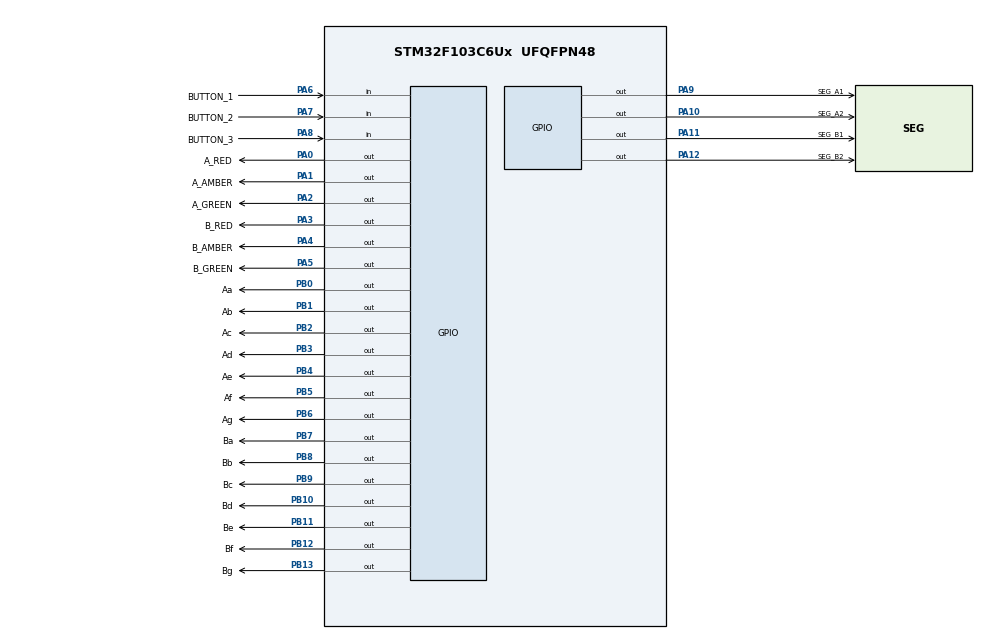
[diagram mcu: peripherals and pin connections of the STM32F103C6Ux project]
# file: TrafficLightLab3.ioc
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Mcu.Family=STM32F1
Mcu.Name=STM32F103C6Ux
Mcu.Package=UFQFPN48
NVIC.PriorityGroup=NVIC_PRIORITYGROUP_4
NVIC.TIM2_IRQn=true\:0\:0\:false\:false\:true\:true\:true
PA0-WKUP.GPIO_Label=A_RED
PA0-WKUP.Signal=GPIO_Output
PA1.GPIO_Label=A_AMBER
PA1.Signal=GPIO_Output
PA10.GPIO_Label=SEG_A2
PA10.Signal=GPIO_Output
PA11.GPIO_Label=SEG_B1
PA11.Signal=GPIO_Output
PA12.GPIO_Label=SEG_B2
PA12.Signal=GPIO_Output
PA2.GPIO_Label=A_GREEN
PA2.Signal=GPIO_Output
PA3.GPIO_Label=B_RED
PA3.Signal=GPIO_Output
PA4.GPIO_Label=B_AMBER
PA4.Signal=GPIO_Output
PA5.GPIO_Label=B_GREEN
PA5.Signal=GPIO_Output
PA6.GPIO_Label=BUTTON_1
PA6.Signal=GPIO_Input
PA7.GPIO_Label=BUTTON_2
PA7.Signal=GPIO_Input
PA8.GPIO_Label=BUTTON_3
PA8.Signal=GPIO_Input
PA9.GPIO_Label=SEG_A1
PA9.Signal=GPIO_Output
PB0.GPIO_Label=Aa
PB0.Signal=GPIO_Output
PB1.GPIO_Label=Ab
PB1.Signal=GPIO_Output
PB10.GPIO_Label=Bd
PB10.Signal=GPIO_Output
PB11.GPIO_Label=Be
PB11.Signal=GPIO_Output
PB12.GPIO_Label=Bf
PB12.Signal=GPIO_Output
PB13.GPIO_Label=Bg
PB13.Signal=GPIO_Output
PB2.GPIO_Label=Ac
PB2.Signal=GPIO_Output
PB3.GPIO_Label=Ad
PB3.Signal=GPIO_Output
PB4.GPIO_Label=Ae
PB4.Signal=GPIO_Output
PB5.GPIO_Label=Af
PB5.Signal=GPIO_Output
PB6.GPIO_Label=Ag
PB6.Signal=GPIO_Output
PB7.GPIO_Label=Ba
PB7.Signal=GPIO_Output
PB8.GPIO_Label=Bb
PB8.Signal=GPIO_Output
PB9.GPIO_Label=Bc
PB9.Signal=GPIO_Output
ProjectManager.HeapSize=0x200
ProjectManager.StackSize=0x400
ProjectManager.TargetToolchain=STM32CubeIDE
RCC.APB1Freq_Value=8000000
RCC.APB2Freq_Value=8000000
TIM2.Period=9
TIM2.Prescaler=7999
VP_SYS_VS_ND.Mode=No_Debug
VP_TIM2_VS_ClockSourceINT.Mode=Internal
board=custom

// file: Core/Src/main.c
/* USER CODE BEGIN Header */
/**
  ******************************************************************************
  * @file           : main.c
  * @brief          : Main program body
  ******************************************************************************
  * @attention
  *
  * <h2><center>&copy; Copyright (c) 2026 STMicroelectronics.
  * All rights reserved.</center></h2>
  *
  * This software component is licensed by ST under BSD 3-Clause license,
  * the "License"; You may not use this file except in compliance with the
  * License. You may obtain a copy of the License at:
  *                        opensource.org/licenses/BSD-3-Clause
  *
  ******************************************************************************
  */
/* USER CODE END Header */
#include "main.h"

/* USER CODE BEGIN Includes */
#include "input_reading.h"
#include "input_processing.h"
#include "led_display.h"
/* USER CODE END Includes */

TIM_HandleTypeDef htim2;

/* USER CODE BEGIN PV */
volatile uint32_t timer_tick = 0;
/* USER CODE END PV */

void SystemClock_Config(void);
static void MX_GPIO_Init(void);
static void MX_TIM2_Init(void);

int main(void)
{

  /* MCU Configuration--------------------------------------------------------*/

  /* Reset of all peripherals, Initializes the Flash interface and the Systick. */
  HAL_Init();

  /* USER CODE BEGIN Init */
  uint32_t last_toggle_tick = 0;
  uint32_t toggle_interval_ticks = LED_TOGGLE_MS / TIMER_PERIOD_MS;
  uint32_t last_button_tick = 0;
  uint32_t button_scan_ticks = BUTTON_SCAN_MS / TIMER_PERIOD_MS;
  if (button_scan_ticks == 0U) button_scan_ticks = 1U;
  /* USER CODE END Init */

  /* Configure the system clock */
  SystemClock_Config();

  /* Initialize all configured peripherals */
  MX_GPIO_Init();
  MX_TIM2_Init();
  /* USER CODE BEGIN 2 */
  button_reading_init();
  led_display_init();
  HAL_TIM_Base_Start_IT(&htim2);
  /* USER CODE END 2 */

  /* Infinite loop */
  while (1)
  {

    /* USER CODE BEGIN 3 */

	  fsm_for_input_processing();
	  led_display_task(get_current_mode(), 0);
	  /* Existing 2 Hz LED blink timing */
	  uint32_t current_tick = timer_tick;

	  if ((uint32_t)(current_tick - last_toggle_tick)
			  >= toggle_interval_ticks)
	  {
		  last_toggle_tick += toggle_interval_ticks;
		  /* Example: toggle the LED you want to blink */
		  // HAL_GPIO_TogglePin(LED_GPIO_Port, LED_Pin);
	  }
	  if ((uint32_t)(timer_tick - last_button_tick) >= button_scan_ticks)
	  {
	      last_button_tick += button_scan_ticks;
	      button_reading_task();
	  }
	  __DSB();
	  __WFI();
  }
  /* USER CODE END 3 */
}

void SystemClock_Config(void)
{
  RCC_OscInitTypeDef RCC_OscInitStruct = {0};
  RCC_ClkInitTypeDef RCC_ClkInitStruct = {0};

  /** Initializes the RCC Oscillators according to the specified parameters
  * in the RCC_OscInitTypeDef structure.
  */
  RCC_OscInitStruct.OscillatorType = RCC_OSCILLATORTYPE_HSI;
  RCC_OscInitStruct.HSIState = RCC_HSI_ON;
  RCC_OscInitStruct.HSICalibrationValue = RCC_HSICALIBRATION_DEFAULT;
  RCC_OscInitStruct.PLL.PLLState = RCC_PLL_NONE;
  if (HAL_RCC_OscConfig(&RCC_OscInitStruct) != HAL_OK)
  {
    Error_Handler();
  }
  /** Initializes the CPU, AHB and APB buses clocks
  */
  RCC_ClkInitStruct.ClockType = RCC_CLOCKTYPE_HCLK|RCC_CLOCKTYPE_SYSCLK
                              |RCC_CLOCKTYPE_PCLK1|RCC_CLOCKTYPE_PCLK2;
  RCC_ClkInitStruct.SYSCLKSource = RCC_SYSCLKSOURCE_HSI;
  RCC_ClkInitStruct.AHBCLKDivider = RCC_SYSCLK_DIV1;
  RCC_ClkInitStruct.APB1CLKDivider = RCC_HCLK_DIV1;
  RCC_ClkInitStruct.APB2CLKDivider = RCC_HCLK_DIV1;

  if (HAL_RCC_ClockConfig(&RCC_ClkInitStruct, FLASH_LATENCY_0) != HAL_OK)
  {
    Error_Handler();
  }
}

static void MX_TIM2_Init(void)
{

  TIM_ClockConfigTypeDef sClockSourceConfig = {0};
  TIM_MasterConfigTypeDef sMasterConfig = {0};

  htim2.Instance = TIM2;
  htim2.Init.Prescaler = 7999;
  htim2.Init.CounterMode = TIM_COUNTERMODE_UP;
  htim2.Init.Period = 9;
  htim2.Init.ClockDivision = TIM_CLOCKDIVISION_DIV1;
  htim2.Init.AutoReloadPreload = TIM_AUTORELOAD_PRELOAD_DISABLE;
  if (HAL_TIM_Base_Init(&htim2) != HAL_OK)
  {
    Error_Handler();
  }
  sClockSourceConfig.ClockSource = TIM_CLOCKSOURCE_INTERNAL;
  if (HAL_TIM_ConfigClockSource(&htim2, &sClockSourceConfig) != HAL_OK)
  {
    Error_Handler();
  }
  sMasterConfig.MasterOutputTrigger = TIM_TRGO_RESET;
  sMasterConfig.MasterSlaveMode = TIM_MASTERSLAVEMODE_DISABLE;
  if (HAL_TIMEx_MasterConfigSynchronization(&htim2, &sMasterConfig) != HAL_OK)
  {
    Error_Handler();
  }

}

static void MX_GPIO_Init(void)
{
  GPIO_InitTypeDef GPIO_InitStruct = {0};

  /* GPIO Ports Clock Enable */
  __HAL_RCC_GPIOA_CLK_ENABLE();
  __HAL_RCC_GPIOB_CLK_ENABLE();

  /*Configure GPIO pin Output Level */
  HAL_GPIO_WritePin(GPIOA, A_RED_Pin|A_AMBER_Pin|A_GREEN_Pin|B_RED_Pin
                          |B_AMBER_Pin|B_GREEN_Pin|SEG_A1_Pin|SEG_A2_Pin
                          |SEG_B1_Pin|SEG_B2_Pin, GPIO_PIN_RESET);

  /*Configure GPIO pin Output Level */
  HAL_GPIO_WritePin(GPIOB, Aa_Pin|Ab_Pin|Ac_Pin|Bd_Pin
                          |Be_Pin|Bf_Pin|Bg_Pin|Ad_Pin
                          |Ae_Pin|Af_Pin|Ag_Pin|Ba_Pin
                          |Bb_Pin|Bc_Pin, GPIO_PIN_RESET);

  /*Configure GPIO pins : A_RED_Pin A_AMBER_Pin A_GREEN_Pin B_RED_Pin
                           B_AMBER_Pin B_GREEN_Pin SEG_A1_Pin SEG_A2_Pin
                           SEG_B1_Pin SEG_B2_Pin */
  GPIO_InitStruct.Pin = A_RED_Pin|A_AMBER_Pin|A_GREEN_Pin|B_RED_Pin
                          |B_AMBER_Pin|B_GREEN_Pin|SEG_A1_Pin|SEG_A2_Pin
                          |SEG_B1_Pin|SEG_B2_Pin;
  GPIO_InitStruct.Mode = GPIO_MODE_OUTPUT_PP;
  GPIO_InitStruct.Pull = GPIO_NOPULL;
  GPIO_InitStruct.Speed = GPIO_SPEED_FREQ_LOW;
  HAL_GPIO_Init(GPIOA, &GPIO_InitStruct);

  /*Configure GPIO pins : BUTTON_1_Pin BUTTON_2_Pin BUTTON_3_Pin */
  GPIO_InitStruct.Pin = BUTTON_1_Pin|BUTTON_2_Pin|BUTTON_3_Pin;
  GPIO_InitStruct.Mode = GPIO_MODE_INPUT;
  GPIO_InitStruct.Pull = GPIO_NOPULL;
  HAL_GPIO_Init(GPIOA, &GPIO_InitStruct);

  /*Configure GPIO pins : Aa_Pin Ab_Pin Ac_Pin Bd_Pin
                           Be_Pin Bf_Pin Bg_Pin Ad_Pin
                           Ae_Pin Af_Pin Ag_Pin Ba_Pin
                           Bb_Pin Bc_Pin */
  GPIO_InitStruct.Pin = Aa_Pin|Ab_Pin|Ac_Pin|Bd_Pin
                          |Be_Pin|Bf_Pin|Bg_Pin|Ad_Pin
                          |Ae_Pin|Af_Pin|Ag_Pin|Ba_Pin
                          |Bb_Pin|Bc_Pin;
  GPIO_InitStruct.Mode = GPIO_MODE_OUTPUT_PP;
  GPIO_InitStruct.Pull = GPIO_NOPULL;
  GPIO_InitStruct.Speed = GPIO_SPEED_FREQ_LOW;
  HAL_GPIO_Init(GPIOB, &GPIO_InitStruct);

}

/* USER CODE BEGIN 4 */
void HAL_TIM_PeriodElapsedCallback(TIM_HandleTypeDef *htim)
{
    if (htim->Instance == TIM2)
    {
        timer_tick++;
    }
}
/* USER CODE END 4 */

void Error_Handler(void)
{
  __disable_irq();
  while (1)
  {
  }
}

/************************ (C) COPYRIGHT STMicroelectronics *****END OF FILE****/
